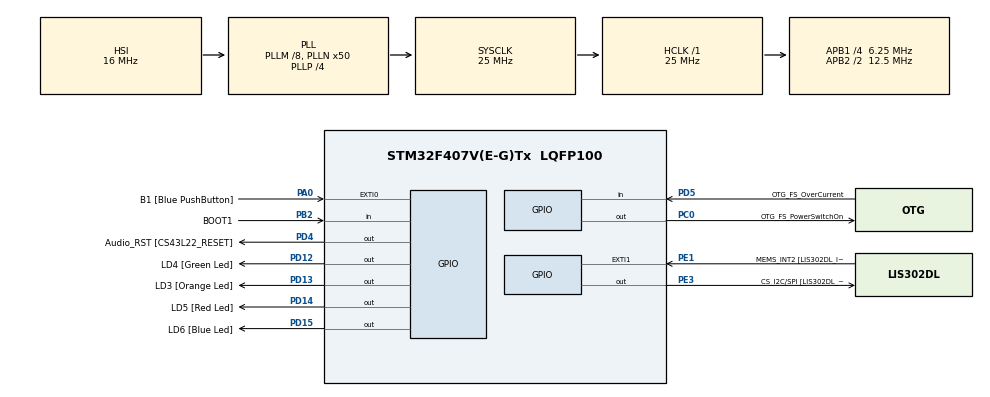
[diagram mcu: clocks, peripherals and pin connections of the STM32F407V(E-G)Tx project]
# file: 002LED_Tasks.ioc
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Mcu.Family=STM32F4
Mcu.Name=STM32F407V(E-G)Tx
Mcu.Package=LQFP100
NVIC.PriorityGroup=NVIC_PRIORITYGROUP_4
NVIC.TIM6_DAC_IRQn=true\:0\:0\:false\:false\:true\:false\:true\:true
NVIC.TimeBase=TIM6_DAC_IRQn
NVIC.TimeBaseIP=TIM6
PA0-WKUP.GPIO_Label=B1 [Blue PushButton]
PA0-WKUP.Signal=GPXTI0
PA10.GPIO_Label=OTG_FS_ID
PA10.GPIO_Mode=GPIO_MODE_AF_PP
PA10.GPIO_PuPd=GPIO_NOPULL
PA10.GPIO_Speed=GPIO_SPEED_FREQ_LOW
PA10.Signal=USB_OTG_FS_ID
PA11.GPIO_Label=OTG_FS_DM
PA11.GPIO_Mode=GPIO_MODE_AF_PP
PA11.GPIO_PuPd=GPIO_NOPULL
PA11.GPIO_Speed=GPIO_SPEED_FREQ_LOW
PA11.Signal=USB_OTG_FS_DM
PA12.GPIO_Label=OTG_FS_DP
PA12.GPIO_Mode=GPIO_MODE_AF_PP
PA12.GPIO_PuPd=GPIO_NOPULL
PA12.GPIO_Speed=GPIO_SPEED_FREQ_LOW
PA12.Signal=USB_OTG_FS_DP
PA13.GPIO_Label=SWDIO
PA13.Signal=SYS_JTMS-SWDIO
PA14.GPIO_Label=SWCLK
PA14.Signal=SYS_JTCK-SWCLK
PA4.GPIO_Label=I2S3_WS [CS43L22_LRCK]
PA4.GPIO_Mode=GPIO_MODE_AF_PP
PA4.GPIO_PuPd=GPIO_NOPULL
PA4.GPIO_Speed=GPIO_SPEED_FREQ_LOW
PA4.Signal=I2S3_WS
PA5.GPIO_Label=SPI1_SCK [LIS302DL_SCL/SPC]
PA5.GPIO_Mode=GPIO_MODE_AF_PP
PA5.GPIO_PuPd=GPIO_NOPULL
PA5.GPIO_Speed=GPIO_SPEED_FREQ_LOW
PA5.Signal=SPI1_SCK
PA6.GPIO_Label=SPI1_MISO [LIS302DL_SDO]
PA6.GPIO_Mode=GPIO_MODE_AF_PP
PA6.GPIO_PuPd=GPIO_NOPULL
PA6.GPIO_Speed=GPIO_SPEED_FREQ_LOW
PA6.Signal=SPI1_MISO
PA7.GPIO_Label=SPI1_MOSI [LIS302DL_SDA/SDI/SDO]
PA7.GPIO_Mode=GPIO_MODE_AF_PP
PA7.GPIO_PuPd=GPIO_NOPULL
PA7.GPIO_Speed=GPIO_SPEED_FREQ_LOW
PA7.Signal=SPI1_MOSI
PA9.GPIO_Label=VBUS_FS
PA9.GPIO_Mode=GPIO_MODE_INPUT
PA9.GPIO_PuPd=GPIO_NOPULL
PA9.Signal=USB_OTG_FS_VBUS
PB10.GPIO_Label=CLK_IN [MP45DT02_CLK]
PB10.GPIO_Mode=GPIO_MODE_AF_PP
PB10.GPIO_PuPd=GPIO_NOPULL
PB10.GPIO_Speed=GPIO_SPEED_FREQ_LOW
PB10.Signal=I2S2_CK
PB2.GPIO_Label=BOOT1
PB2.GPIO_Mode=GPIO_MODE_INPUT
PB2.GPIO_PuPd=GPIO_NOPULL
PB2.Signal=GPIO_Input
PB3.GPIO_Label=SWO
PB3.Signal=SYS_JTDO-SWO
PB6.GPIO_Label=Audio_SCL [CS43L22_SCL]
PB6.GPIO_Mode=GPIO_MODE_AF_OD
PB6.GPIO_PuPd=GPIO_NOPULL
PB6.GPIO_Speed=GPIO_SPEED_FREQ_LOW
PB6.Signal=I2C1_SCL
PB9.GPIO_Label=Audio_SDA [CS43L22_SDA]
PB9.GPIO_Mode=GPIO_MODE_AF_OD
PB9.GPIO_PuPd=GPIO_NOPULL
PB9.GPIO_Speed=GPIO_SPEED_FREQ_LOW
PB9.Signal=I2C1_SDA
PC0.GPIO_Label=OTG_FS_PowerSwitchOn
PC0.GPIO_PuPd=GPIO_NOPULL
PC0.GPIO_Speed=GPIO_SPEED_FREQ_LOW
PC0.PinState=GPIO_PIN_SET
PC0.Signal=GPIO_Output
PC10.GPIO_Label=I2S3_SCK [CS43L22_SCLK]
PC10.GPIO_Mode=GPIO_MODE_AF_PP
PC10.GPIO_PuPd=GPIO_NOPULL
PC10.GPIO_Speed=GPIO_SPEED_FREQ_LOW
PC10.Signal=I2S3_CK
PC12.GPIO_Label=I2S3_SD [CS43L22_SDIN]
PC12.GPIO_Mode=GPIO_MODE_AF_PP
PC12.GPIO_PuPd=GPIO_NOPULL
PC12.GPIO_Speed=GPIO_SPEED_FREQ_LOW
PC12.Signal=I2S3_SD
PC14-OSC32_IN.GPIO_Label=PC14-OSC32_IN
PC14-OSC32_IN.Signal=RCC_OSC32_IN
PC15-OSC32_OUT.GPIO_Label=PC15-OSC32_OUT
PC15-OSC32_OUT.Signal=RCC_OSC32_OUT
PC3.GPIO_Label=PDM_OUT [MP45DT02_DOUT]
PC3.GPIO_Mode=GPIO_MODE_AF_PP
PC3.GPIO_PuPd=GPIO_NOPULL
PC3.GPIO_Speed=GPIO_SPEED_FREQ_LOW
PC3.Signal=I2S2_SD
PC7.GPIO_Label=I2S3_MCK [CS43L22_MCLK]
PC7.GPIO_Mode=GPIO_MODE_AF_PP
PC7.GPIO_PuPd=GPIO_NOPULL
PC7.GPIO_Speed=GPIO_SPEED_FREQ_LOW
PC7.Signal=I2S3_MCK
PD12.GPIO_Label=LD4 [Green Led]
PD12.GPIO_PuPd=GPIO_NOPULL
PD12.GPIO_Speed=GPIO_SPEED_FREQ_LOW
PD12.Signal=GPIO_Output
PD13.GPIO_Label=LD3 [Orange Led]
PD13.GPIO_PuPd=GPIO_NOPULL
PD13.GPIO_Speed=GPIO_SPEED_FREQ_LOW
PD13.Signal=GPIO_Output
PD14.GPIO_Label=LD5 [Red Led]
PD14.GPIO_PuPd=GPIO_NOPULL
PD14.GPIO_Speed=GPIO_SPEED_FREQ_LOW
PD14.Signal=GPIO_Output
PD15.GPIO_Label=LD6 [Blue Led]
PD15.GPIO_PuPd=GPIO_NOPULL
PD15.GPIO_Speed=GPIO_SPEED_FREQ_LOW
PD15.Signal=GPIO_Output
PD4.GPIO_Label=Audio_RST [CS43L22_RESET]
PD4.GPIO_PuPd=GPIO_NOPULL
PD4.GPIO_Speed=GPIO_SPEED_FREQ_LOW
PD4.Signal=GPIO_Output
PD5.GPIO_Label=OTG_FS_OverCurrent
PD5.GPIO_Mode=GPIO_MODE_INPUT
PD5.GPIO_PuPd=GPIO_NOPULL
PD5.Signal=GPIO_Input
PE1.GPIO_Label=MEMS_INT2 [LIS302DL_INT2]
PE1.GPIO_ModeDefaultEXTI=GPIO_MODE_EVT_RISING
PE1.GPIO_PuPd=GPIO_NOPULL
PE1.Signal=GPXTI1
PE3.GPIO_Label=CS_I2C/SPI [LIS302DL_CS_I2C/SPI]
PE3.GPIO_PuPd=GPIO_NOPULL
PE3.GPIO_Speed=GPIO_SPEED_FREQ_LOW
PE3.Signal=GPIO_Output
PH0-OSC_IN.GPIO_Label=PH0-OSC_IN
PH0-OSC_IN.Signal=RCC_OSC_IN
PH1-OSC_OUT.GPIO_Label=PH1-OSC_OUT
PH1-OSC_OUT.Signal=RCC_OSC_OUT
ProjectManager.HeapSize=0x200
ProjectManager.StackSize=0x400
ProjectManager.TargetToolchain=STM32CubeIDE
RCC.48MHZClocksFreq_Value=14285714.285714285
RCC.AHBFreq_Value=25000000
RCC.APB1CLKDivider=RCC_HCLK_DIV4
RCC.APB1Freq_Value=6250000
RCC.APB1TimFreq_Value=12500000
RCC.APB2CLKDivider=RCC_HCLK_DIV2
RCC.APB2Freq_Value=12500000
RCC.APB2TimFreq_Value=25000000
RCC.CortexFreq_Value=25000000
RCC.HCLKFreq_Value=25000000
RCC.HSE_VALUE=8000000
RCC.HSI_VALUE=16000000
RCC.LSE_VALUE=32768
RCC.PLLM=8
RCC.PLLN=50
RCC.PLLP=RCC_PLLP_DIV4
RCC.PLLQ=7
RCC.SYSCLKFreq_VALUE=25000000
RCC.SYSCLKSource=RCC_SYSCLKSOURCE_PLLCLK
RCC.VCOOutputFreq_Value=100000000
VP_SYS_VS_tim6.Mode=TIM6
board=STM32F407G-DISC1

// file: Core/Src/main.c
/* USER CODE BEGIN Header */
/**
  ******************************************************************************
  * @file           : main.c
  * @brief          : Main program body
  ******************************************************************************
  * @attention
  *
  * Copyright (c) 2024 STMicroelectronics.
  * All rights reserved.
  *
  * This software is licensed under terms that can be found in the LICENSE file
  * in the root directory of this software component.
  * If no LICENSE file comes with this software, it is provided AS-IS.
  *
  ******************************************************************************
  */
/* USER CODE END Header */
#include "main.h"

/* USER CODE BEGIN Includes */

#include <stdio.h>
#include "FreeRTOS.h"
#include "task.h"

/* USER CODE END Includes */

/* USER CODE BEGIN PV */
#define DWT_CTRL    (*(volatile uint32_t*)0xE0001000)
/* USER CODE END PV */

void SystemClock_Config(void);
static void MX_GPIO_Init(void);
/* USER CODE BEGIN PFP */
	static void ledgreen_handler(void *parameters);
	static void ledorange_handler(void *parameters);
	static void ledred_handler(void *parameters);

/* USER CODE END PFP */

int main(void)
{

  /* USER CODE BEGIN 1 */

	TaskHandle_t task1_handle;
	TaskHandle_t task2_handle;
	TaskHandle_t task3_handle;

	BaseType_t status;

  /* USER CODE END 1 */

  /* MCU Configuration--------------------------------------------------------*/

  /* Reset of all peripherals, Initializes the Flash interface and the Systick. */
   HAL_Init();

  /* Configure the system clock */
  SystemClock_Config();

  /* Initialize all configured peripherals */
  MX_GPIO_Init();
  /* USER CODE BEGIN 2 */
  //CYCLCNT enable
  DWT_CTRL |= ( 1 << 0);

  SEGGER_SYSVIEW_Conf();

  status = xTaskCreate(ledgreen_handler, "LED_green_task", 200, NULL, 2, &task1_handle);

  configASSERT(status == pdPASS);

  status = xTaskCreate(ledred_handler, "LED_red_task", 200,NULL, 2, &task2_handle);

  configASSERT(status == pdPASS);

  status = xTaskCreate(ledorange_handler, "LED_orange_task", 200, NULL, 2, &task3_handle);

  configASSERT(status == pdPASS);

  //start the freeRTOS scheduler
  vTaskStartScheduler();

  /* USER CODE END 2 */

  /* Infinite loop */
  while (1)
  {

  }
}

void SystemClock_Config(void)
{
  RCC_OscInitTypeDef RCC_OscInitStruct = {0};
  RCC_ClkInitTypeDef RCC_ClkInitStruct = {0};

  /** Configure the main internal regulator output voltage
  */
  __HAL_RCC_PWR_CLK_ENABLE();
  __HAL_PWR_VOLTAGESCALING_CONFIG(PWR_REGULATOR_VOLTAGE_SCALE1);

  /** Initializes the RCC Oscillators according to the specified parameters
  * in the RCC_OscInitTypeDef structure.
  */
  RCC_OscInitStruct.OscillatorType = RCC_OSCILLATORTYPE_HSI;
  RCC_OscInitStruct.HSIState = RCC_HSI_ON;
  RCC_OscInitStruct.HSICalibrationValue = RCC_HSICALIBRATION_DEFAULT;
  RCC_OscInitStruct.PLL.PLLState = RCC_PLL_ON;
  RCC_OscInitStruct.PLL.PLLSource = RCC_PLLSOURCE_HSI;
  RCC_OscInitStruct.PLL.PLLM = 8;
  RCC_OscInitStruct.PLL.PLLN = 50;
  RCC_OscInitStruct.PLL.PLLP = RCC_PLLP_DIV4;
  RCC_OscInitStruct.PLL.PLLQ = 7;
  if (HAL_RCC_OscConfig(&RCC_OscInitStruct) != HAL_OK)
  {
    Error_Handler();
  }

  /** Initializes the CPU, AHB and APB buses clocks
  */
  RCC_ClkInitStruct.ClockType = RCC_CLOCKTYPE_HCLK|RCC_CLOCKTYPE_SYSCLK
                              |RCC_CLOCKTYPE_PCLK1|RCC_CLOCKTYPE_PCLK2;
  RCC_ClkInitStruct.SYSCLKSource = RCC_SYSCLKSOURCE_PLLCLK;
  RCC_ClkInitStruct.AHBCLKDivider = RCC_SYSCLK_DIV1;
  RCC_ClkInitStruct.APB1CLKDivider = RCC_HCLK_DIV4;
  RCC_ClkInitStruct.APB2CLKDivider = RCC_HCLK_DIV2;

  if (HAL_RCC_ClockConfig(&RCC_ClkInitStruct, FLASH_LATENCY_0) != HAL_OK)
  {
    Error_Handler();
  }
}

static void MX_GPIO_Init(void)
{
  GPIO_InitTypeDef GPIO_InitStruct = {0};

  /* GPIO Ports Clock Enable */
  __HAL_RCC_GPIOE_CLK_ENABLE();
  __HAL_RCC_GPIOC_CLK_ENABLE();
  __HAL_RCC_GPIOH_CLK_ENABLE();
  __HAL_RCC_GPIOA_CLK_ENABLE();
  __HAL_RCC_GPIOB_CLK_ENABLE();
  __HAL_RCC_GPIOD_CLK_ENABLE();

  /*Configure GPIO pin Output Level */
  HAL_GPIO_WritePin(CS_I2C_SPI_GPIO_Port, CS_I2C_SPI_Pin, GPIO_PIN_RESET);

  /*Configure GPIO pin Output Level */
  HAL_GPIO_WritePin(OTG_FS_PowerSwitchOn_GPIO_Port, OTG_FS_PowerSwitchOn_Pin, GPIO_PIN_SET);

  /*Configure GPIO pin Output Level */
  HAL_GPIO_WritePin(GPIOD, LD4_Pin|LD3_Pin|LD5_Pin|LD6_Pin
                          |Audio_RST_Pin, GPIO_PIN_RESET);

  /*Configure GPIO pin : CS_I2C_SPI_Pin */
  GPIO_InitStruct.Pin = CS_I2C_SPI_Pin;
  GPIO_InitStruct.Mode = GPIO_MODE_OUTPUT_PP;
  GPIO_InitStruct.Pull = GPIO_NOPULL;
  GPIO_InitStruct.Speed = GPIO_SPEED_FREQ_LOW;
  HAL_GPIO_Init(CS_I2C_SPI_GPIO_Port, &GPIO_InitStruct);

  /*Configure GPIO pin : OTG_FS_PowerSwitchOn_Pin */
  GPIO_InitStruct.Pin = OTG_FS_PowerSwitchOn_Pin;
  GPIO_InitStruct.Mode = GPIO_MODE_OUTPUT_PP;
  GPIO_InitStruct.Pull = GPIO_NOPULL;
  GPIO_InitStruct.Speed = GPIO_SPEED_FREQ_LOW;
  HAL_GPIO_Init(OTG_FS_PowerSwitchOn_GPIO_Port, &GPIO_InitStruct);

  /*Configure GPIO pin : PDM_OUT_Pin */
  GPIO_InitStruct.Pin = PDM_OUT_Pin;
  GPIO_InitStruct.Mode = GPIO_MODE_AF_PP;
  GPIO_InitStruct.Pull = GPIO_NOPULL;
  GPIO_InitStruct.Speed = GPIO_SPEED_FREQ_LOW;
  GPIO_InitStruct.Alternate = GPIO_AF5_SPI2;
  HAL_GPIO_Init(PDM_OUT_GPIO_Port, &GPIO_InitStruct);

  /*Configure GPIO pin : B1_Pin */
  GPIO_InitStruct.Pin = B1_Pin;
  GPIO_InitStruct.Mode = GPIO_MODE_IT_RISING;
  GPIO_InitStruct.Pull = GPIO_NOPULL;
  HAL_GPIO_Init(B1_GPIO_Port, &GPIO_InitStruct);

  /*Configure GPIO pin : I2S3_WS_Pin */
  GPIO_InitStruct.Pin = I2S3_WS_Pin;
  GPIO_InitStruct.Mode = GPIO_MODE_AF_PP;
  GPIO_InitStruct.Pull = GPIO_NOPULL;
  GPIO_InitStruct.Speed = GPIO_SPEED_FREQ_LOW;
  GPIO_InitStruct.Alternate = GPIO_AF6_SPI3;
  HAL_GPIO_Init(I2S3_WS_GPIO_Port, &GPIO_InitStruct);

  /*Configure GPIO pins : SPI1_SCK_Pin SPI1_MISO_Pin SPI1_MOSI_Pin */
  GPIO_InitStruct.Pin = SPI1_SCK_Pin|SPI1_MISO_Pin|SPI1_MOSI_Pin;
  GPIO_InitStruct.Mode = GPIO_MODE_AF_PP;
  GPIO_InitStruct.Pull = GPIO_NOPULL;
  GPIO_InitStruct.Speed = GPIO_SPEED_FREQ_LOW;
  GPIO_InitStruct.Alternate = GPIO_AF5_SPI1;
  HAL_GPIO_Init(GPIOA, &GPIO_InitStruct);

  /*Configure GPIO pin : BOOT1_Pin */
  GPIO_InitStruct.Pin = BOOT1_Pin;
  GPIO_InitStruct.Mode = GPIO_MODE_INPUT;
  GPIO_InitStruct.Pull = GPIO_NOPULL;
  HAL_GPIO_Init(BOOT1_GPIO_Port, &GPIO_InitStruct);

  /*Configure GPIO pin : CLK_IN_Pin */
  GPIO_InitStruct.Pin = CLK_IN_Pin;
  GPIO_InitStruct.Mode = GPIO_MODE_AF_PP;
  GPIO_InitStruct.Pull = GPIO_NOPULL;
  GPIO_InitStruct.Speed = GPIO_SPEED_FREQ_LOW;
  GPIO_InitStruct.Alternate = GPIO_AF5_SPI2;
  HAL_GPIO_Init(CLK_IN_GPIO_Port, &GPIO_InitStruct);

  /*Configure GPIO pins : LD4_Pin LD3_Pin LD5_Pin LD6_Pin
                           Audio_RST_Pin */
  GPIO_InitStruct.Pin = LD4_Pin|LD3_Pin|LD5_Pin|LD6_Pin
                          |Audio_RST_Pin;
  GPIO_InitStruct.Mode = GPIO_MODE_OUTPUT_PP;
  GPIO_InitStruct.Pull = GPIO_NOPULL;
  GPIO_InitStruct.Speed = GPIO_SPEED_FREQ_LOW;
  HAL_GPIO_Init(GPIOD, &GPIO_InitStruct);

  /*Configure GPIO pins : I2S3_MCK_Pin I2S3_SCK_Pin I2S3_SD_Pin */
  GPIO_InitStruct.Pin = I2S3_MCK_Pin|I2S3_SCK_Pin|I2S3_SD_Pin;
  GPIO_InitStruct.Mode = GPIO_MODE_AF_PP;
  GPIO_InitStruct.Pull = GPIO_NOPULL;
  GPIO_InitStruct.Speed = GPIO_SPEED_FREQ_LOW;
  GPIO_InitStruct.Alternate = GPIO_AF6_SPI3;
  HAL_GPIO_Init(GPIOC, &GPIO_InitStruct);

  /*Configure GPIO pin : VBUS_FS_Pin */
  GPIO_InitStruct.Pin = VBUS_FS_Pin;
  GPIO_InitStruct.Mode = GPIO_MODE_INPUT;
  GPIO_InitStruct.Pull = GPIO_NOPULL;
  HAL_GPIO_Init(VBUS_FS_GPIO_Port, &GPIO_InitStruct);

  /*Configure GPIO pins : OTG_FS_ID_Pin OTG_FS_DM_Pin OTG_FS_DP_Pin */
  GPIO_InitStruct.Pin = OTG_FS_ID_Pin|OTG_FS_DM_Pin|OTG_FS_DP_Pin;
  GPIO_InitStruct.Mode = GPIO_MODE_AF_PP;
  GPIO_InitStruct.Pull = GPIO_NOPULL;
  GPIO_InitStruct.Speed = GPIO_SPEED_FREQ_LOW;
  GPIO_InitStruct.Alternate = GPIO_AF10_OTG_FS;
  HAL_GPIO_Init(GPIOA, &GPIO_InitStruct);

  /*Configure GPIO pin : OTG_FS_OverCurrent_Pin */
  GPIO_InitStruct.Pin = OTG_FS_OverCurrent_Pin;
  GPIO_InitStruct.Mode = GPIO_MODE_INPUT;
  GPIO_InitStruct.Pull = GPIO_NOPULL;
  HAL_GPIO_Init(OTG_FS_OverCurrent_GPIO_Port, &GPIO_InitStruct);

  /*Configure GPIO pins : Audio_SCL_Pin Audio_SDA_Pin */
  GPIO_InitStruct.Pin = Audio_SCL_Pin|Audio_SDA_Pin;
  GPIO_InitStruct.Mode = GPIO_MODE_AF_OD;
  GPIO_InitStruct.Pull = GPIO_NOPULL;
  GPIO_InitStruct.Speed = GPIO_SPEED_FREQ_LOW;
  GPIO_InitStruct.Alternate = GPIO_AF4_I2C1;
  HAL_GPIO_Init(GPIOB, &GPIO_InitStruct);

  /*Configure GPIO pin : MEMS_INT2_Pin */
  GPIO_InitStruct.Pin = MEMS_INT2_Pin;
  GPIO_InitStruct.Mode = GPIO_MODE_EVT_RISING;
  GPIO_InitStruct.Pull = GPIO_NOPULL;
  HAL_GPIO_Init(MEMS_INT2_GPIO_Port, &GPIO_InitStruct);

}

/* USER CODE BEGIN 4 */

static void ledgreen_handler(void *parameters)
{
	 while(1)
	 {
		// SEGGER_SYSVIEW_PrintfTarget("Toggling green LED");
		 HAL_GPIO_TogglePin(GPIOD,LED_GREEN_PIN);
		 HAL_Delay(1000);
	 }
}

static void ledorange_handler(void *parameters)
{
	 while(1)
	 {
		// SEGGER_SYSVIEW_PrintfTarget("Toggling orange LED");
		 HAL_GPIO_TogglePin(GPIOD,LED_ORANGE_PIN);
		 HAL_Delay(800);
	 }
}

static void ledred_handler(void *parameters)
{
	 while(1)
	 {
		// SEGGER_SYSVIEW_PrintfTarget("Toggling red LED");
		 HAL_GPIO_TogglePin(GPIOD,LED_RED_PIN);
		 HAL_Delay(400);
	 }
}

/* USER CODE END 4 */

void HAL_TIM_PeriodElapsedCallback(TIM_HandleTypeDef *htim)
{
  if (htim->Instance == TIM6) {
    HAL_IncTick();
  }
}

void Error_Handler(void)
{
  __disable_irq();
  while (1)
  {
  }
}
